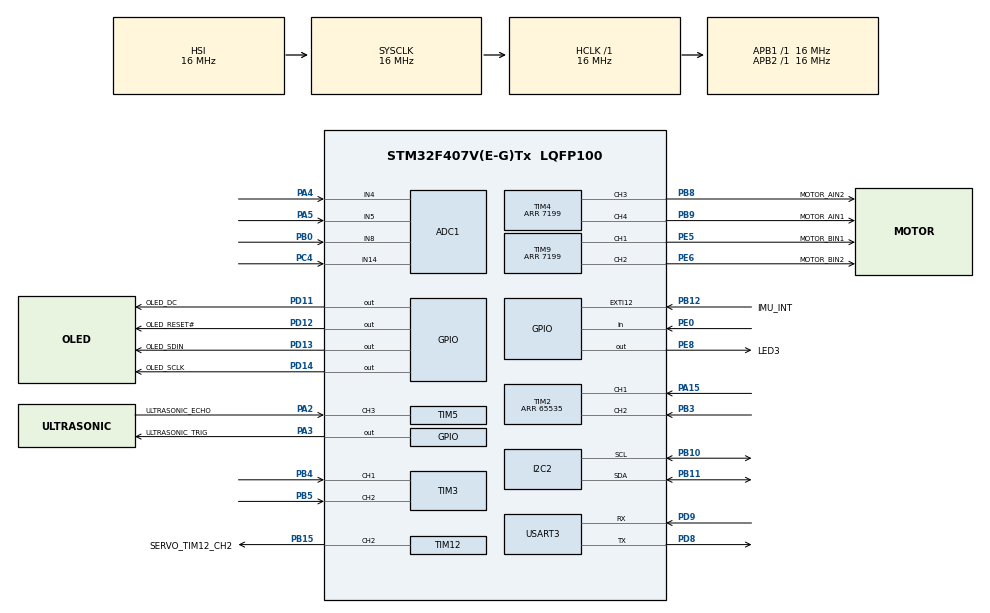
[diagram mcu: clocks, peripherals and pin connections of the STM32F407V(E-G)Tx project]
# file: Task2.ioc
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ADC1.Channel-0\#ChannelRegularConversion=ADC_CHANNEL_8
ADC1.ClockPrescaler=ADC_CLOCK_SYNC_PCLK_DIV4
ADC1.NbrOfConversionFlag=1
ADC1.Rank-0\#ChannelRegularConversion=1
ADC1.SamplingTime-0\#ChannelRegularConversion=ADC_SAMPLETIME_480CYCLES
ADC1.master=1
FREERTOS.Queues01=uartQueue,32,uint8_t,0,Dynamic,NULL,NULL
FREERTOS.Tasks01=defaultTask,24,512,StartDefaultTask,Default,NULL,Dynamic,NULL,NULL;communicateTask,32,1024,StartCommunicateTask,Default,NULL,Dynamic,NULL,NULL;motorTask,24,512,StartMotorTask,Default,NULL,Dynamic,NULL,NULL;oledTask,8,768,StartOledTask,Default,NULL,Dynamic,NULL,NULL;gyroTask,32,512,StartGyroTask,Default,NULL,Dynamic,NULL,NULL;ultrasonicTask,16,512,StartUltrasonicTask,Default,NULL,Dynamic,NULL,NULL
FREERTOS.configTOTAL_HEAP_SIZE=20480
Mcu.Family=STM32F4
Mcu.Name=STM32F407V(E-G)Tx
Mcu.Package=LQFP100
NVIC.PriorityGroup=NVIC_PRIORITYGROUP_4
NVIC.TIM5_IRQn=true\:5\:0\:false\:false\:true\:true\:true\:true\:true
NVIC.TIM7_IRQn=true\:15\:0\:false\:false\:true\:false\:false\:true\:true
NVIC.TimeBase=TIM7_IRQn
NVIC.TimeBaseIP=TIM7
NVIC.USART3_IRQn=true\:5\:0\:false\:false\:true\:true\:true\:true\:true
PA13.Signal=SYS_JTMS-SWDIO
PA14.Signal=SYS_JTCK-SWCLK
PA15.Signal=S_TIM2_CH1_ETR
PA2.GPIO_Label=ULTRASONIC_ECHO
PA2.Signal=S_TIM5_CH3
PA3.GPIO_Label=ULTRASONIC_TRIG
PA3.Signal=GPIO_Output
PA4.Signal=ADCx_IN4
PA5.Signal=ADCx_IN5
PB0.Signal=ADCx_IN8
PB10.Mode=I2C
PB10.Signal=I2C2_SCL
PB11.Mode=I2C
PB11.Signal=I2C2_SDA
PB12.GPIO_Label=IMU_INT
PB12.Signal=GPXTI12
PB15.GPIO_Label=SERVO_TIM12_CH2
PB15.Signal=S_TIM12_CH2
PB3.Signal=S_TIM2_CH2
PB4.Signal=S_TIM3_CH1
PB5.Signal=S_TIM3_CH2
PB8.GPIO_Label=MOTOR_AIN2
PB8.GPIO_Speed=GPIO_SPEED_FREQ_HIGH
PB8.Signal=S_TIM4_CH3
PB9.GPIO_Label=MOTOR_AIN1
PB9.GPIO_Speed=GPIO_SPEED_FREQ_HIGH
PB9.Signal=S_TIM4_CH4
PC4.Signal=ADCx_IN14
PD11.GPIO_Label=OLED_DC
PD11.Signal=GPIO_Output
PD12.GPIO_Label=OLED_RESET\#
PD12.Signal=GPIO_Output
PD13.GPIO_Label=OLED_SDIN
PD13.Signal=GPIO_Output
PD14.GPIO_Label=OLED_SCLK
PD14.Signal=GPIO_Output
PD8.Mode=Asynchronous
PD8.Signal=USART3_TX
PD9.Mode=Asynchronous
PD9.Signal=USART3_RX
PE0.Signal=GPIO_Input
PE5.GPIO_Label=MOTOR_BIN1
PE5.GPIO_Speed=GPIO_SPEED_FREQ_HIGH
PE5.Signal=S_TIM9_CH1
PE6.GPIO_Label=MOTOR_BIN2
PE6.GPIO_Speed=GPIO_SPEED_FREQ_HIGH
PE6.Signal=S_TIM9_CH2
PE8.GPIO_Label=LED3
PE8.Signal=GPIO_Output
ProjectManager.HeapSize=0x200
ProjectManager.StackSize=0x400
ProjectManager.TargetToolchain=STM32CubeIDE
RCC.AHBFreq_Value=16000000
RCC.APB1Freq_Value=16000000
RCC.APB2Freq_Value=16000000
RCC.CortexFreq_Value=16000000
RCC.HSE_VALUE=25000000
RCC.HSI_VALUE=16000000
RCC.LSE_VALUE=32768
RCC.SYSCLKFreq_VALUE=16000000
RCC.VCOOutputFreq_Value=192000000
SH.ADCx_IN14.0=ADC1_IN14,IN14
SH.ADCx_IN4.0=ADC1_IN4,IN4
SH.ADCx_IN5.0=ADC1_IN5,IN5
SH.ADCx_IN8.0=ADC1_IN8,IN8
SH.S_TIM12_CH2.0=TIM12_CH2,PWM Generation2 CH2
SH.S_TIM2_CH1_ETR.0=TIM2_CH1,Encoder_Interface
SH.S_TIM2_CH2.0=TIM2_CH2,Encoder_Interface
SH.S_TIM3_CH1.0=TIM3_CH1,Encoder_Interface
SH.S_TIM3_CH2.0=TIM3_CH2,Encoder_Interface
SH.S_TIM4_CH3.0=TIM4_CH3,PWM Generation3 CH3
SH.S_TIM4_CH4.0=TIM4_CH4,PWM Generation4 CH4
SH.S_TIM5_CH3.0=TIM5_CH3,Input_Capture3_from_TI3
SH.S_TIM9_CH1.0=TIM9_CH1,PWM Generation1 CH1
SH.S_TIM9_CH2.0=TIM9_CH2,PWM Generation2 CH2
TIM12.AutoReloadPreload=TIM_AUTORELOAD_PRELOAD_ENABLE
TIM12.Channel-PWM\ Generation2\ CH2=TIM_CHANNEL_2
TIM12.Period=20000-1
TIM12.Prescaler=16-1
TIM12.Pulse-PWM\ Generation2\ CH2=1500
TIM2.EncoderMode=TIM_ENCODERMODE_TI12
TIM2.IC1Filter=10
TIM2.IC2Filter=10
TIM2.Period=65535
TIM3.EncoderMode=TIM_ENCODERMODE_TI12
TIM3.IC1Filter=10
TIM3.IC1Polarity=TIM_ICPOLARITY_FALLING
TIM3.IC2Filter=10
TIM3.IC2Polarity=TIM_ICPOLARITY_RISING
TIM4.AutoReloadPreload=TIM_AUTORELOAD_PRELOAD_ENABLE
TIM4.Channel-PWM\ Generation3\ CH3=TIM_CHANNEL_3
TIM4.Channel-PWM\ Generation4\ CH4=TIM_CHANNEL_4
TIM4.Period=7199
TIM5.Channel-Input_Capture3_from_TI3=TIM_CHANNEL_3
TIM5.Period=65535
TIM5.Prescaler=16-1
TIM6.Prescaler=16-1
TIM9.AutoReloadPreload=TIM_AUTORELOAD_PRELOAD_ENABLE
TIM9.Channel-PWM\ Generation1\ CH1=TIM_CHANNEL_1
TIM9.Channel-PWM\ Generation2\ CH2=TIM_CHANNEL_2
TIM9.Period=7199
USART3.VirtualMode=VM_ASYNC
VP_FREERTOS_VS_CMSIS_V2.Mode=CMSIS_V2
VP_SYS_VS_tim7.Mode=TIM7
VP_TIM12_VS_ClockSourceINT.Mode=Internal
VP_TIM4_VS_ClockSourceINT.Mode=Internal
VP_TIM5_VS_ClockSourceINT.Mode=Internal
VP_TIM6_VS_ClockSourceINT.Mode=Enable_Timer
VP_TIM9_VS_ClockSourceINT.Mode=Internal
board=custom

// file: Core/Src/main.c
/* USER CODE BEGIN Header */
/**
  ******************************************************************************
  * @file           : main.c
  * @brief          : Main program body
  ******************************************************************************
  * @attention
  *
  * Copyright (c) 2026 STMicroelectronics.
  * All rights reserved.
  *
  * This software is licensed under terms that can be found in the LICENSE file
  * in the root directory of this software component.
  * If no LICENSE file comes with this software, it is provided AS-IS.
  *
  ******************************************************************************
  */
/* USER CODE END Header */
#include "main.h"
#include "cmsis_os.h"

/* USER CODE BEGIN Includes */
#include <stdio.h>
#include <stdlib.h>
#include <string.h>
#include <math.h>
#include "oled.h"
#include "ICM20948.h"
#include "robot_config.h"   // every tunable value (edit this during calibration)
#include "motion.h"         // straights, turns, heading
#include "field_tools.h"    // knob-and-button test modes, TD log
#include "task2.h"          // Task 2 sequencer: GO, AL / AR
/* USER CODE END Includes */

/* USER CODE BEGIN PD */
/* All tunable values live in robot_config.h. */
/* USER CODE END PD */

 ADC_HandleTypeDef hadc1;

I2C_HandleTypeDef hi2c2;

TIM_HandleTypeDef htim2;
TIM_HandleTypeDef htim3;
TIM_HandleTypeDef htim4;
TIM_HandleTypeDef htim5;
TIM_HandleTypeDef htim6;
TIM_HandleTypeDef htim9;
TIM_HandleTypeDef htim12;

UART_HandleTypeDef huart3;

/* Definitions for defaultTask */
osThreadId_t defaultTaskHandle;
const osThreadAttr_t defaultTask_attributes = {
  .name = "defaultTask",
  .stack_size = 512 * 4,
  .priority = (osPriority_t) osPriorityNormal,
};
/* Definitions for communicateTask */
osThreadId_t communicateTaskHandle;
const osThreadAttr_t communicateTask_attributes = {
  .name = "communicateTask",
  .stack_size = 1024 * 4,
  .priority = (osPriority_t) osPriorityAboveNormal,
};
/* Definitions for motorTask */
osThreadId_t motorTaskHandle;
const osThreadAttr_t motorTask_attributes = {
  .name = "motorTask",
  .stack_size = 512 * 4,
  .priority = (osPriority_t) osPriorityNormal,
};
/* Definitions for oledTask */
osThreadId_t oledTaskHandle;
const osThreadAttr_t oledTask_attributes = {
  .name = "oledTask",
  .stack_size = 768 * 4,
  .priority = (osPriority_t) osPriorityLow,
};
/* Definitions for gyroTask */
osThreadId_t gyroTaskHandle;
const osThreadAttr_t gyroTask_attributes = {
  .name = "gyroTask",
  .stack_size = 512 * 4,
  .priority = (osPriority_t) osPriorityAboveNormal,
};
/* Definitions for ultrasonicTask */
osThreadId_t ultrasonicTaskHandle;
const osThreadAttr_t ultrasonicTask_attributes = {
  .name = "ultrasonicTask",
  .stack_size = 512 * 4,
  .priority = (osPriority_t) osPriorityBelowNormal,
};
/* Definitions for uartQueue */
osMessageQueueId_t uartQueueHandle;
const osMessageQueueAttr_t uartQueue_attributes = {
  .name = "uartQueue"
};
/* USER CODE BEGIN PV */

/* ==========================================================================
 *                     GLOBAL STATE
 *  Motion and heading state lives in motion.c, test-mode state in
 *  field_tools.c, and every tunable value in robot_config.h.
 * ========================================================================== */

/* --- Serial --- */
uint8_t rxByte;                                 // UART single-byte receive buffer
volatile uint8_t emergency_stop_requested = 0;  // Set by '!' on the UART; stops the current move

/* --- Encoders (accumulated by the motor task, read by motion.c) --- */
int32_t left_encoder_val = 0;                   // Total ticks since boot (Left)
int32_t right_encoder_val = 0;                  // Total ticks since boot (Right)

/* --- Gyroscope --- */
volatile float dash_gyroRate = 0.0f;            // Yaw rate in deg/s (CCW positive)

/* --- OLED display dashboard --- */
char oled_status_msg[32] = "Booting...";        // When not empty, shown instead of the dashboard
char dash_lastCmd[15] = "None";                 // "CMD:" line: last command, or test-mode info
volatile float dash_ultraDist = 0.0f;           // Ultrasonic distance (cm), last echo (check age with Ultra_Get)
int dash_encoderL = 0;                          // Left encoder total
int dash_encoderR = 0;                          // Right encoder total
uint16_t dash_direction = 0;                    // Encoder direction indicator
float dash_battV = 0.0f;                        // Battery voltage (smoothed)
int dash_battPct = 0;                           // Battery percentage (rough)

/* --- Ultrasonic sensor --- */
uint32_t tc1 = 0;                               // Timer capture 1 (Rising Edge)
uint32_t tc2 = 0;                               // Timer capture 2 (Falling Edge)
uint32_t echo = 0;                              // Delta time of echo pulse
uint8_t first_captured = 0;                     // State flag for input capture
volatile uint32_t ultraTick = 0;                // HAL tick of the last echo
volatile uint32_t ultraSeq  = 0;                // +1 per echo (0 = none yet)

/* --- IR distance sensors (written by the sensor task only) --- */
volatile float    irCm[2]    = {IR_CLEAR, IR_CLEAR}; // [IR_LEFT]=IR1, [IR_RIGHT]=IR2: cm from the lens, median of 3
volatile float    irVolts[2] = {0.0f, 0.0f};         // averaged volts (diagnostics)
volatile uint32_t irSeq      = 0;                    // +1 per IR update

/* USER CODE END PV */

void SystemClock_Config(void);
static void MX_GPIO_Init(void);
static void MX_USART3_UART_Init(void);
static void MX_TIM6_Init(void);
static void MX_I2C2_Init(void);
static void MX_TIM5_Init(void);
static void MX_TIM4_Init(void);
static void MX_TIM9_Init(void);
static void MX_TIM2_Init(void);
static void MX_TIM3_Init(void);
static void MX_TIM12_Init(void);
static void MX_ADC1_Init(void);
void StartDefaultTask(void *argument);
void StartCommunicateTask(void *argument);
void StartMotorTask(void *argument);
void StartOledTask(void *argument);
void StartGyroTask(void *argument);
void StartUltrasonicTask(void *argument);

/* USER CODE BEGIN PFP */
static void bootMessage(const char *msg);

/* USER CODE END PFP */

/* USER CODE BEGIN 0 */

/* "12.3" / "-0.45" with integer printf only (no newlib float formatting).
 * decimals 1 or 2. Used by the OLED task. */
static void fixed1(char *out, float v, int decimals)
{
    long scale = (decimals >= 2) ? 100 : 10;
    long n = lroundf(v * (float)scale);
    const char *sign = (n < 0) ? "-" : "";
    if (n < 0) n = -n;
    if (decimals >= 2) sprintf(out, "%s%ld.%02ld", sign, n / 100, n % 100);
    else               sprintf(out, "%s%ld.%ld",   sign, n / 10,  n % 10);
}

/* ---- Crash reporting ----------------------------------------------------------
 * Any fault stops the robot and says what happened, instead of freezing silently:
 *   - motors braked, LED3 blinks slowly (~1 s on, ~1 s off; the heartbeat is 5 Hz),
 *   - "A FAULT <what> <task>" sent to the Pi,
 *   - "FAULT <what>" and the task name on the OLED.
 * Called from: stack overflow hook, configASSERT (FreeRTOSConfig.h), HardFault /
 * MemManage / BusFault / UsageFault (stm32f4xx_it.c). Interrupts are off and
 * nothing here uses the RTOS, HAL timing or printf. Press reset to recover. */
static void faultPutc(char c)
{
    while ((USART3->SR & USART_SR_TXE) == 0) { }
    USART3->DR = (uint8_t)c;
}

static void faultPuts(const char *p)
{
    while (p && *p) faultPutc(*p++);
}

void Fault_Stop(const char *what, const char *task)
{
    __disable_irq();
    // Motors: both pins high = AT8236 brake (the PWM timers keep running on their own)
    __HAL_TIM_SET_COMPARE(&htim4, TIM_CHANNEL_3, PWM_BRAKE);
    __HAL_TIM_SET_COMPARE(&htim4, TIM_CHANNEL_4, PWM_BRAKE);
    __HAL_TIM_SET_COMPARE(&htim9, TIM_CHANNEL_1, PWM_BRAKE);
    __HAL_TIM_SET_COMPARE(&htim9, TIM_CHANNEL_2, PWM_BRAKE);

    faultPuts("A FAULT ");
    faultPuts(what);
    faultPutc(' ');
    faultPuts((task && *task) ? task : "-");
    faultPuts("\r\n");

    char line[24] = "FAULT ";
    strncat(line, what, sizeof(line) - strlen(line) - 1);
    for (int y = 0; y < 64; y++) for (int x = 0; x < 128; x++) OLED_DrawPoint((uint8_t)x, (uint8_t)y, 0);
    OLED_ShowString(0, 12, (const uint8_t *)line);
    OLED_ShowString(0, 30, (const uint8_t *)((task && *task) ? task : "-"));
    OLED_ShowString(0, 48, (const uint8_t *)"press RESET");
    OLED_Refresh_Gram();

    for (;;) {
        HAL_GPIO_TogglePin(LED3_GPIO_Port, LED3_Pin);
        for (volatile uint32_t i = 0; i < 1600000u; i++) { }   // ~1 s: the core runs at 16 MHz (HSI)
    }
}

/* FreeRTOS: a task ran past the end of its stack (configCHECK_FOR_STACK_OVERFLOW 2). */
void vApplicationStackOverflowHook(TaskHandle_t xTask, signed char *pcTaskName)
{
    (void)xTask;
    Fault_Stop("STACK", (const char *)pcTaskName);
}

/* FreeRTOS: pvPortMalloc found no room (only at start-up, when the tasks are created). */
void vApplicationMallocFailedHook(void)
{
    Fault_Stop("HEAP", "");
}

/* newlib: malloc / free are used by printf's number formatting. Make them safe
 * when two tasks format at once (newlib's default lock does nothing). */
void __malloc_lock(struct _reent *r)
{
    (void)r;
    if (xTaskGetSchedulerState() != taskSCHEDULER_NOT_STARTED) vTaskSuspendAll();
}

void __malloc_unlock(struct _reent *r)
{
    (void)r;
    if (xTaskGetSchedulerState() != taskSCHEDULER_NOT_STARTED) (void)xTaskResumeAll();
}

/* USER CODE END 0 */

int main(void)
{

  /* MCU Configuration--------------------------------------------------------*/

  /* Reset of all peripherals, Initializes the Flash interface and the Systick. */
  HAL_Init();

  /* Configure the system clock */
  SystemClock_Config();

  /* Initialize all configured peripherals */
  MX_GPIO_Init();
  MX_USART3_UART_Init();
  MX_TIM6_Init();
  MX_I2C2_Init();
  MX_TIM5_Init();
  MX_TIM4_Init();
  MX_TIM9_Init();
  MX_TIM2_Init();
  MX_TIM3_Init();
  MX_TIM12_Init();
  MX_ADC1_Init();
  /* USER CODE BEGIN 2 */

  // 1. Initialise OLED and Show Boot Message
  OLED_Init();
  bootMessage("Booting...");

  // 2. Initialise IMU (Gyroscope)
  if (ICM20948_Init() == HAL_OK) {
      bootMessage("IMU Found");
      HAL_Delay(300);         // long enough to read; the RTOS isn't running yet
  } else {
      bootMessage("IMU ERROR!");
      while(1); // Halt execution if IMU fails (the message stays on screen)
  }

  // 3. Start UART Interrupt Listener
  HAL_UART_Receive_IT(&huart3, &rxByte, 1);
#if FIELD_TOOLS
  FieldTools_Init();        // PB1 knob as analogue input
#endif

  // 4. Start Ultrasonic Timers
  HAL_TIM_Base_Start(&htim6);
  HAL_TIM_IC_Start_IT(&htim5, TIM_CHANNEL_3);

  /* USER CODE END 2 */

  /* Init scheduler */
  osKernelInitialize();

  /* Create the queue(s) */
  /* creation of uartQueue */
  uartQueueHandle = osMessageQueueNew (32, sizeof(uint8_t), &uartQueue_attributes);

  /* Create the thread(s) */
  /* creation of defaultTask */
  defaultTaskHandle = osThreadNew(StartDefaultTask, NULL, &defaultTask_attributes);

  /* creation of communicateTask */
  communicateTaskHandle = osThreadNew(StartCommunicateTask, NULL, &communicateTask_attributes);

  /* creation of motorTask */
  motorTaskHandle = osThreadNew(StartMotorTask, NULL, &motorTask_attributes);

  /* creation of oledTask */
  oledTaskHandle = osThreadNew(StartOledTask, NULL, &oledTask_attributes);

  /* creation of gyroTask */
  gyroTaskHandle = osThreadNew(StartGyroTask, NULL, &gyroTask_attributes);

  /* creation of ultrasonicTask */
  ultrasonicTaskHandle = osThreadNew(StartUltrasonicTask, NULL, &ultrasonicTask_attributes);

  /* Start scheduler */
  osKernelStart();

  /* We should never get here as control is now taken by the scheduler */
  /* Infinite loop */
  while (1)
  {

  }
}

void SystemClock_Config(void)
{
  RCC_OscInitTypeDef RCC_OscInitStruct = {0};
  RCC_ClkInitTypeDef RCC_ClkInitStruct = {0};

  /** Configure the main internal regulator output voltage
  */
  __HAL_RCC_PWR_CLK_ENABLE();
  __HAL_PWR_VOLTAGESCALING_CONFIG(PWR_REGULATOR_VOLTAGE_SCALE1);

  /** Initializes the RCC Oscillators according to the specified parameters
  * in the RCC_OscInitTypeDef structure.
  */
  RCC_OscInitStruct.OscillatorType = RCC_OSCILLATORTYPE_HSI;
  RCC_OscInitStruct.HSIState = RCC_HSI_ON;
  RCC_OscInitStruct.HSICalibrationValue = RCC_HSICALIBRATION_DEFAULT;
  RCC_OscInitStruct.PLL.PLLState = RCC_PLL_NONE;
  if (HAL_RCC_OscConfig(&RCC_OscInitStruct) != HAL_OK)
  {
    Error_Handler();
  }

  /** Initializes the CPU, AHB and APB buses clocks
  */
  RCC_ClkInitStruct.ClockType = RCC_CLOCKTYPE_HCLK|RCC_CLOCKTYPE_SYSCLK
                              |RCC_CLOCKTYPE_PCLK1|RCC_CLOCKTYPE_PCLK2;
  RCC_ClkInitStruct.SYSCLKSource = RCC_SYSCLKSOURCE_HSI;
  RCC_ClkInitStruct.AHBCLKDivider = RCC_SYSCLK_DIV1;
  RCC_ClkInitStruct.APB1CLKDivider = RCC_HCLK_DIV1;
  RCC_ClkInitStruct.APB2CLKDivider = RCC_HCLK_DIV1;

  if (HAL_RCC_ClockConfig(&RCC_ClkInitStruct, FLASH_LATENCY_0) != HAL_OK)
  {
    Error_Handler();
  }
}

static void MX_ADC1_Init(void)
{

  ADC_ChannelConfTypeDef sConfig = {0};

  /** Configure the global features of the ADC (Clock, Resolution, Data Alignment and number of conversion)
  */
  hadc1.Instance = ADC1;
  hadc1.Init.ClockPrescaler = ADC_CLOCK_SYNC_PCLK_DIV4;
  hadc1.Init.Resolution = ADC_RESOLUTION_12B;
  hadc1.Init.ScanConvMode = DISABLE;
  hadc1.Init.ContinuousConvMode = DISABLE;
  hadc1.Init.DiscontinuousConvMode = DISABLE;
  hadc1.Init.ExternalTrigConvEdge = ADC_EXTERNALTRIGCONVEDGE_NONE;
  hadc1.Init.ExternalTrigConv = ADC_SOFTWARE_START;
  hadc1.Init.DataAlign = ADC_DATAALIGN_RIGHT;
  hadc1.Init.NbrOfConversion = 1;
  hadc1.Init.DMAContinuousRequests = DISABLE;
  hadc1.Init.EOCSelection = ADC_EOC_SINGLE_CONV;
  if (HAL_ADC_Init(&hadc1) != HAL_OK)
  {
    Error_Handler();
  }

  /** Configure for the selected ADC regular channel its corresponding rank in the sequencer and its sample time.
  */
  sConfig.Channel = ADC_CHANNEL_8;
  sConfig.Rank = 1;
  sConfig.SamplingTime = ADC_SAMPLETIME_480CYCLES;
  if (HAL_ADC_ConfigChannel(&hadc1, &sConfig) != HAL_OK)
  {
    Error_Handler();
  }

}

static void MX_I2C2_Init(void)
{

  hi2c2.Instance = I2C2;
  hi2c2.Init.ClockSpeed = 100000;
  hi2c2.Init.DutyCycle = I2C_DUTYCYCLE_2;
  hi2c2.Init.OwnAddress1 = 0;
  hi2c2.Init.AddressingMode = I2C_ADDRESSINGMODE_7BIT;
  hi2c2.Init.DualAddressMode = I2C_DUALADDRESS_DISABLE;
  hi2c2.Init.OwnAddress2 = 0;
  hi2c2.Init.GeneralCallMode = I2C_GENERALCALL_DISABLE;
  hi2c2.Init.NoStretchMode = I2C_NOSTRETCH_DISABLE;
  if (HAL_I2C_Init(&hi2c2) != HAL_OK)
  {
    Error_Handler();
  }

}

static void MX_TIM2_Init(void)
{

  TIM_Encoder_InitTypeDef sConfig = {0};
  TIM_MasterConfigTypeDef sMasterConfig = {0};

  htim2.Instance = TIM2;
  htim2.Init.Prescaler = 0;
  htim2.Init.CounterMode = TIM_COUNTERMODE_UP;
  htim2.Init.Period = 65535;
  htim2.Init.ClockDivision = TIM_CLOCKDIVISION_DIV1;
  htim2.Init.AutoReloadPreload = TIM_AUTORELOAD_PRELOAD_DISABLE;
  sConfig.EncoderMode = TIM_ENCODERMODE_TI12;
  sConfig.IC1Polarity = TIM_ICPOLARITY_RISING;
  sConfig.IC1Selection = TIM_ICSELECTION_DIRECTTI;
  sConfig.IC1Prescaler = TIM_ICPSC_DIV1;
  sConfig.IC1Filter = 10;
  sConfig.IC2Polarity = TIM_ICPOLARITY_RISING;
  sConfig.IC2Selection = TIM_ICSELECTION_DIRECTTI;
  sConfig.IC2Prescaler = TIM_ICPSC_DIV1;
  sConfig.IC2Filter = 10;
  if (HAL_TIM_Encoder_Init(&htim2, &sConfig) != HAL_OK)
  {
    Error_Handler();
  }
  sMasterConfig.MasterOutputTrigger = TIM_TRGO_RESET;
  sMasterConfig.MasterSlaveMode = TIM_MASTERSLAVEMODE_DISABLE;
  if (HAL_TIMEx_MasterConfigSynchronization(&htim2, &sMasterConfig) != HAL_OK)
  {
    Error_Handler();
  }

}

static void MX_TIM3_Init(void)
{

  TIM_Encoder_InitTypeDef sConfig = {0};
  TIM_MasterConfigTypeDef sMasterConfig = {0};

  htim3.Instance = TIM3;
  htim3.Init.Prescaler = 0;
  htim3.Init.CounterMode = TIM_COUNTERMODE_UP;
  htim3.Init.Period = 65535;
  htim3.Init.ClockDivision = TIM_CLOCKDIVISION_DIV1;
  htim3.Init.AutoReloadPreload = TIM_AUTORELOAD_PRELOAD_DISABLE;
  sConfig.EncoderMode = TIM_ENCODERMODE_TI12;
  sConfig.IC1Polarity = TIM_ICPOLARITY_FALLING;
  sConfig.IC1Selection = TIM_ICSELECTION_DIRECTTI;
  sConfig.IC1Prescaler = TIM_ICPSC_DIV1;
  sConfig.IC1Filter = 10;
  sConfig.IC2Polarity = TIM_ICPOLARITY_RISING;
  sConfig.IC2Selection = TIM_ICSELECTION_DIRECTTI;
  sConfig.IC2Prescaler = TIM_ICPSC_DIV1;
  sConfig.IC2Filter = 10;
  if (HAL_TIM_Encoder_Init(&htim3, &sConfig) != HAL_OK)
  {
    Error_Handler();
  }
  sMasterConfig.MasterOutputTrigger = TIM_TRGO_RESET;
  sMasterConfig.MasterSlaveMode = TIM_MASTERSLAVEMODE_DISABLE;
  if (HAL_TIMEx_MasterConfigSynchronization(&htim3, &sMasterConfig) != HAL_OK)
  {
    Error_Handler();
  }

}

static void MX_TIM4_Init(void)
{

  TIM_ClockConfigTypeDef sClockSourceConfig = {0};
  TIM_MasterConfigTypeDef sMasterConfig = {0};
  TIM_OC_InitTypeDef sConfigOC = {0};

  htim4.Instance = TIM4;
  htim4.Init.Prescaler = 0;
  htim4.Init.CounterMode = TIM_COUNTERMODE_UP;
  htim4.Init.Period = 7199;
  htim4.Init.ClockDivision = TIM_CLOCKDIVISION_DIV1;
  htim4.Init.AutoReloadPreload = TIM_AUTORELOAD_PRELOAD_ENABLE;
  if (HAL_TIM_Base_Init(&htim4) != HAL_OK)
  {
    Error_Handler();
  }
  sClockSourceConfig.ClockSource = TIM_CLOCKSOURCE_INTERNAL;
  if (HAL_TIM_ConfigClockSource(&htim4, &sClockSourceConfig) != HAL_OK)
  {
    Error_Handler();
  }
  if (HAL_TIM_PWM_Init(&htim4) != HAL_OK)
  {
    Error_Handler();
  }
  sMasterConfig.MasterOutputTrigger = TIM_TRGO_RESET;
  sMasterConfig.MasterSlaveMode = TIM_MASTERSLAVEMODE_DISABLE;
  if (HAL_TIMEx_MasterConfigSynchronization(&htim4, &sMasterConfig) != HAL_OK)
  {
    Error_Handler();
  }
  sConfigOC.OCMode = TIM_OCMODE_PWM1;
  sConfigOC.Pulse = 0;
  sConfigOC.OCPolarity = TIM_OCPOLARITY_HIGH;
  sConfigOC.OCFastMode = TIM_OCFAST_DISABLE;
  if (HAL_TIM_PWM_ConfigChannel(&htim4, &sConfigOC, TIM_CHANNEL_3) != HAL_OK)
  {
    Error_Handler();
  }
  if (HAL_TIM_PWM_ConfigChannel(&htim4, &sConfigOC, TIM_CHANNEL_4) != HAL_OK)
  {
    Error_Handler();
  }
  HAL_TIM_MspPostInit(&htim4);

}

static void MX_TIM5_Init(void)
{

  TIM_ClockConfigTypeDef sClockSourceConfig = {0};
  TIM_MasterConfigTypeDef sMasterConfig = {0};
  TIM_IC_InitTypeDef sConfigIC = {0};

  htim5.Instance = TIM5;
  htim5.Init.Prescaler = 16-1;
  htim5.Init.CounterMode = TIM_COUNTERMODE_UP;
  htim5.Init.Period = 65535;
  htim5.Init.ClockDivision = TIM_CLOCKDIVISION_DIV1;
  htim5.Init.AutoReloadPreload = TIM_AUTORELOAD_PRELOAD_DISABLE;
  if (HAL_TIM_Base_Init(&htim5) != HAL_OK)
  {
    Error_Handler();
  }
  sClockSourceConfig.ClockSource = TIM_CLOCKSOURCE_INTERNAL;
  if (HAL_TIM_ConfigClockSource(&htim5, &sClockSourceConfig) != HAL_OK)
  {
    Error_Handler();
  }
  if (HAL_TIM_IC_Init(&htim5) != HAL_OK)
  {
    Error_Handler();
  }
  sMasterConfig.MasterOutputTrigger = TIM_TRGO_RESET;
  sMasterConfig.MasterSlaveMode = TIM_MASTERSLAVEMODE_DISABLE;
  if (HAL_TIMEx_MasterConfigSynchronization(&htim5, &sMasterConfig) != HAL_OK)
  {
    Error_Handler();
  }
  sConfigIC.ICPolarity = TIM_INPUTCHANNELPOLARITY_RISING;
  sConfigIC.ICSelection = TIM_ICSELECTION_DIRECTTI;
  sConfigIC.ICPrescaler = TIM_ICPSC_DIV1;
  sConfigIC.ICFilter = 0;
  if (HAL_TIM_IC_ConfigChannel(&htim5, &sConfigIC, TIM_CHANNEL_3) != HAL_OK)
  {
    Error_Handler();
  }

}

static void MX_TIM6_Init(void)
{

  TIM_MasterConfigTypeDef sMasterConfig = {0};

  htim6.Instance = TIM6;
  htim6.Init.Prescaler = 16-1;
  htim6.Init.CounterMode = TIM_COUNTERMODE_UP;
  htim6.Init.Period = 65535;
  htim6.Init.AutoReloadPreload = TIM_AUTORELOAD_PRELOAD_DISABLE;
  if (HAL_TIM_Base_Init(&htim6) != HAL_OK)
  {
    Error_Handler();
  }
  sMasterConfig.MasterOutputTrigger = TIM_TRGO_RESET;
  sMasterConfig.MasterSlaveMode = TIM_MASTERSLAVEMODE_DISABLE;
  if (HAL_TIMEx_MasterConfigSynchronization(&htim6, &sMasterConfig) != HAL_OK)
  {
    Error_Handler();
  }

}

static void MX_TIM9_Init(void)
{

  TIM_ClockConfigTypeDef sClockSourceConfig = {0};
  TIM_OC_InitTypeDef sConfigOC = {0};

  htim9.Instance = TIM9;
  htim9.Init.Prescaler = 0;
  htim9.Init.CounterMode = TIM_COUNTERMODE_UP;
  htim9.Init.Period = 7199;
  htim9.Init.ClockDivision = TIM_CLOCKDIVISION_DIV1;
  htim9.Init.AutoReloadPreload = TIM_AUTORELOAD_PRELOAD_ENABLE;
  if (HAL_TIM_Base_Init(&htim9) != HAL_OK)
  {
    Error_Handler();
  }
  sClockSourceConfig.ClockSource = TIM_CLOCKSOURCE_INTERNAL;
  if (HAL_TIM_ConfigClockSource(&htim9, &sClockSourceConfig) != HAL_OK)
  {
    Error_Handler();
  }
  if (HAL_TIM_PWM_Init(&htim9) != HAL_OK)
  {
    Error_Handler();
  }
  sConfigOC.OCMode = TIM_OCMODE_PWM1;
  sConfigOC.Pulse = 0;
  sConfigOC.OCPolarity = TIM_OCPOLARITY_HIGH;
  sConfigOC.OCFastMode = TIM_OCFAST_DISABLE;
  if (HAL_TIM_PWM_ConfigChannel(&htim9, &sConfigOC, TIM_CHANNEL_1) != HAL_OK)
  {
    Error_Handler();
  }
  if (HAL_TIM_PWM_ConfigChannel(&htim9, &sConfigOC, TIM_CHANNEL_2) != HAL_OK)
  {
    Error_Handler();
  }
  HAL_TIM_MspPostInit(&htim9);

}

static void MX_TIM12_Init(void)
{

  TIM_ClockConfigTypeDef sClockSourceConfig = {0};
  TIM_OC_InitTypeDef sConfigOC = {0};

  htim12.Instance = TIM12;
  htim12.Init.Prescaler = 16-1;
  htim12.Init.CounterMode = TIM_COUNTERMODE_UP;
  htim12.Init.Period = 20000-1;
  htim12.Init.ClockDivision = TIM_CLOCKDIVISION_DIV1;
  htim12.Init.AutoReloadPreload = TIM_AUTORELOAD_PRELOAD_ENABLE;
  if (HAL_TIM_Base_Init(&htim12) != HAL_OK)
  {
    Error_Handler();
  }
  sClockSourceConfig.ClockSource = TIM_CLOCKSOURCE_INTERNAL;
  if (HAL_TIM_ConfigClockSource(&htim12, &sClockSourceConfig) != HAL_OK)
  {
    Error_Handler();
  }
  if (HAL_TIM_PWM_Init(&htim12) != HAL_OK)
  {
    Error_Handler();
  }
  sConfigOC.OCMode = TIM_OCMODE_PWM1;
  sConfigOC.Pulse = 1500;
  sConfigOC.OCPolarity = TIM_OCPOLARITY_HIGH;
  sConfigOC.OCFastMode = TIM_OCFAST_DISABLE;
  if (HAL_TIM_PWM_ConfigChannel(&htim12, &sConfigOC, TIM_CHANNEL_2) != HAL_OK)
  {
    Error_Handler();
  }
  HAL_TIM_MspPostInit(&htim12);

}

static void MX_USART3_UART_Init(void)
{

  huart3.Instance = USART3;
  huart3.Init.BaudRate = 115200;
  huart3.Init.WordLength = UART_WORDLENGTH_8B;
  huart3.Init.StopBits = UART_STOPBITS_1;
  huart3.Init.Parity = UART_PARITY_NONE;
  huart3.Init.Mode = UART_MODE_TX_RX;
  huart3.Init.HwFlowCtl = UART_HWCONTROL_NONE;
  huart3.Init.OverSampling = UART_OVERSAMPLING_16;
  if (HAL_UART_Init(&huart3) != HAL_OK)
  {
    Error_Handler();
  }

}

static void MX_GPIO_Init(void)
{
  GPIO_InitTypeDef GPIO_InitStruct = {0};

  /* GPIO Ports Clock Enable */
  __HAL_RCC_GPIOE_CLK_ENABLE();
  __HAL_RCC_GPIOA_CLK_ENABLE();
  __HAL_RCC_GPIOC_CLK_ENABLE();
  __HAL_RCC_GPIOB_CLK_ENABLE();
  __HAL_RCC_GPIOD_CLK_ENABLE();

  /*Configure GPIO pin Output Level */
  HAL_GPIO_WritePin(ULTRASONIC_TRIG_GPIO_Port, ULTRASONIC_TRIG_Pin, GPIO_PIN_RESET);

  /*Configure GPIO pin Output Level */
  HAL_GPIO_WritePin(LED3_GPIO_Port, LED3_Pin, GPIO_PIN_RESET);

  /*Configure GPIO pin Output Level */
  HAL_GPIO_WritePin(GPIOD, OLED_DC_Pin|OLED_RESET__Pin|OLED_SDIN_Pin|OLED_SCLK_Pin, GPIO_PIN_RESET);

  /*Configure GPIO pin : ULTRASONIC_TRIG_Pin */
  GPIO_InitStruct.Pin = ULTRASONIC_TRIG_Pin;
  GPIO_InitStruct.Mode = GPIO_MODE_OUTPUT_PP;
  GPIO_InitStruct.Pull = GPIO_NOPULL;
  GPIO_InitStruct.Speed = GPIO_SPEED_FREQ_LOW;
  HAL_GPIO_Init(ULTRASONIC_TRIG_GPIO_Port, &GPIO_InitStruct);

  /*Configure GPIO pin : LED3_Pin */
  GPIO_InitStruct.Pin = LED3_Pin;
  GPIO_InitStruct.Mode = GPIO_MODE_OUTPUT_PP;
  GPIO_InitStruct.Pull = GPIO_NOPULL;
  GPIO_InitStruct.Speed = GPIO_SPEED_FREQ_LOW;
  HAL_GPIO_Init(LED3_GPIO_Port, &GPIO_InitStruct);

  /*Configure GPIO pin : IMU_INT_Pin */
  GPIO_InitStruct.Pin = IMU_INT_Pin;
  GPIO_InitStruct.Mode = GPIO_MODE_IT_RISING;
  GPIO_InitStruct.Pull = GPIO_NOPULL;
  HAL_GPIO_Init(IMU_INT_GPIO_Port, &GPIO_InitStruct);

  /*Configure GPIO pins : OLED_DC_Pin OLED_RESET__Pin OLED_SDIN_Pin OLED_SCLK_Pin */
  GPIO_InitStruct.Pin = OLED_DC_Pin|OLED_RESET__Pin|OLED_SDIN_Pin|OLED_SCLK_Pin;
  GPIO_InitStruct.Mode = GPIO_MODE_OUTPUT_PP;
  GPIO_InitStruct.Pull = GPIO_NOPULL;
  GPIO_InitStruct.Speed = GPIO_SPEED_FREQ_LOW;
  HAL_GPIO_Init(GPIOD, &GPIO_InitStruct);

  /*Configure GPIO pin : PE0 */
  GPIO_InitStruct.Pin = GPIO_PIN_0;
  GPIO_InitStruct.Mode = GPIO_MODE_INPUT;
  GPIO_InitStruct.Pull = GPIO_NOPULL;
  HAL_GPIO_Init(GPIOE, &GPIO_InitStruct);

}

/* USER CODE BEGIN 4 */

/* ==========================================================================
 *                     INTERRUPT CALLBACKS
 * ========================================================================== */

/**
 * @brief Serial Communication Interrupt Callback.
 *        Listens for incoming UART data and handles emergency stops immediately.
 */
void HAL_UART_RxCpltCallback(UART_HandleTypeDef *huart)
{
    if (huart -> Instance == USART3) {
        // Intercept emergency stop ('!') immediately so it bypasses queues
        if (rxByte == '!') {
            emergency_stop_requested = 1;
        } else {
            // Every other character goes to the command task. '!' is not queued:
            // it would otherwise end up at the front of the next command.
            osMessageQueuePut(uartQueueHandle, &rxByte, 0U, 0U);
        }

        // Re-arm the interrupt to listen for the next byte
        HAL_UART_Receive_IT(&huart3, &rxByte, 1);
    }
}

/**
 * @brief Microsecond delay using hardware timer (TIM6).
 *        Used to precisely trigger the ultrasonic sensor.
 */
void delay_us(uint16_t us)
{
    __HAL_TIM_SET_COUNTER(&htim6, 0);
    while(__HAL_TIM_GET_COUNTER(&htim6) < us);
}

/**
 * @brief Ultrasonic Input Capture Callback.
 *        Calculates distance based on the width of the echo pulse.
 */
void HAL_TIM_IC_CaptureCallback(TIM_HandleTypeDef *htim)
{
    if (htim->Instance == TIM5 && htim->Channel == HAL_TIM_ACTIVE_CHANNEL_3) {
        if (first_captured == 0) {
            // Rising edge detected: start timer capture
            tc1 = HAL_TIM_ReadCapturedValue(htim, TIM_CHANNEL_3);
            first_captured = 1;
            __HAL_TIM_SET_CAPTUREPOLARITY(htim, TIM_CHANNEL_3, TIM_INPUTCHANNELPOLARITY_FALLING);
        } else if (first_captured == 1) {
            // Falling edge detected: read the end time, reset the counter, calculate delta
            tc2 = HAL_TIM_ReadCapturedValue(htim, TIM_CHANNEL_3);
            __HAL_TIM_SET_COUNTER(htim, 0);

            // Handle timer overflow
            if (tc2 > tc1) {
                echo = tc2 - tc1;
            } else {
                echo = (65535 - tc1) + tc2;
            }

            // Convert raw timer ticks to centimetres
            dash_ultraDist = (float)echo * ULTRA_CM_PER_US + ULTRA_OFFSET_CM;   // calibrated: see robot_config.h
            ultraTick = HAL_GetTick();          // when it arrived (stale after ULTRA_VALID_MS)
            ultraSeq++;                         // written last: readers check it to spot a new echo

            // Reset state machine for the next reading
            first_captured = 0;
            __HAL_TIM_SET_CAPTUREPOLARITY(htim, TIM_CHANNEL_3, TIM_INPUTCHANNELPOLARITY_RISING);
            __HAL_TIM_DISABLE_IT(htim, TIM_IT_CC3);
        }
    }
}

/* Re-arms UART3 reception after a line error (noise, a cable being
 * plugged or unplugged). Without this the robot stops listening until
 * reset. If reception is still running, the call just returns busy. */
void HAL_UART_ErrorCallback(UART_HandleTypeDef *huart)
{
    if (huart->Instance == USART3) {
        HAL_UART_Receive_IT(&huart3, &rxByte, 1);
    }
}

/* ==========================================================================
 *                     BOOT MESSAGES
 * ========================================================================== */

/* Draws a status line straight to the OLED. Used during start-up, before the
 * OLED task is running (it normally does all the drawing), so messages like
 * "IMU ERROR!" are visible even if start-up stops there. */
static void bootMessage(const char *msg)
{
    strncpy(oled_status_msg, msg, sizeof(oled_status_msg) - 1);
    oled_status_msg[sizeof(oled_status_msg) - 1] = '\0';
    OLED_Clear();
    OLED_ShowString(0, 24, (uint8_t *)oled_status_msg);
    OLED_Refresh_Gram();
}

/* ==========================================================================
 *                     BATTERY
 * ========================================================================== */

/* Reads one ADC1 channel. Only ever called from the sensor task (IR, battery,
 * knob), so nothing fights over the ADC and no mutex is needed.
 * Returns 0xFFFFFFFF on failure. */
uint32_t Board_ReadAdc(uint32_t channel)
{
    ADC_ChannelConfTypeDef c = {0};
    uint32_t raw = 0xFFFFFFFFu;
    c.Channel = channel;
    c.Rank = 1;
    c.SamplingTime = ADC_SAMPLETIME_480CYCLES;
    HAL_ADC_ConfigChannel(&hadc1, &c);
    HAL_ADC_Start(&hadc1);
    if (HAL_ADC_PollForConversion(&hadc1, 10) == HAL_OK) {
        raw = HAL_ADC_GetValue(&hadc1);
    }
    HAL_ADC_Stop(&hadc1);
    return raw;
}

/* Battery voltage from PB0 (11:1 divider: R27 100k / R26 10k). */
static float readBatteryVoltage(void)
{
    uint32_t raw = Board_ReadAdc(ADC_CHANNEL_8);
    if (raw == 0xFFFFFFFFu) {
        return dash_battV;              // keep last good reading
    }
    return ((float)raw * 3.3f / 4095.0f) * 11.0f;
}

/* Rough 3S Li-ion state of charge. Approximate: voltage sags under load. */
static int batteryPercent(float v)
{
    float cell = v / 3.0f;
    if (cell >= 4.15f) return 100;
    if (cell <= 3.30f) return 0;
    if (cell >  3.85f) return (int)(55.0f + (cell - 3.85f) * (45.0f / 0.30f));
    if (cell >  3.60f) return (int)(20.0f + (cell - 3.60f) * (35.0f / 0.25f));
    return (int)((cell - 3.30f) * (20.0f / 0.30f));
}

/* ==========================================================================
 *                     ULTRASONIC: reading it safely from tasks
 * ========================================================================== */

/* Latest echo, safe from any task (never waits). Returns the echo's sequence
 * number so callers can tell a new echo from one they have already used.
 * *cm = -1 if there has been no echo, it is older than ULTRA_VALID_MS, or it
 * was a no-echo timeout (> ULTRA_MAX_CM). */
uint32_t Ultra_Get(float *cm)
{
    uint32_t s, t;
    float d;
    do {                                     // re-read if an echo lands mid-read
        s = ultraSeq;
        d = dash_ultraDist;
        t = ultraTick;
    } while (s != ultraSeq);
    if (s == 0 || (HAL_GetTick() - t) > ULTRA_VALID_MS || d > ULTRA_MAX_CM) {
        d = -1.0f;
    }
    *cm = d;
    return s;
}

/* Median of the next `pings` echoes (max 9), for when the robot is standing
 * still (US?). Waits up to (pings + 2) ping periods. Returns -1 if no good
 * echo came back; *nGood = how many good echoes were used.
 * Calls osDelay: tasks only, never from an interrupt or the motor task. */
float Ultra_Query(int pings, int *nGood)
{
    float r[9], d;
    int k = 0, got = 0;
    if (pings > 9) pings = 9;
    uint32_t last  = Ultra_Get(&d);          // only echoes from now on count
    uint32_t start = HAL_GetTick();
    uint32_t limit = (uint32_t)(pings + 2) * 60u + 50u;   // the sensor task pings every 60 ms
    while (got < pings && (HAL_GetTick() - start) < limit) {
        osDelay(5);
        uint32_t s = Ultra_Get(&d);
        if (s == last) continue;
        last = s;
        got++;
        if (d > 0.0f) {                      // insertion sort as they arrive
            int i = k++;
            while (i > 0 && r[i - 1] > d) { r[i] = r[i - 1]; i--; }
            r[i] = d;
        }
    }
    *nGood = k;
    return (k > 0) ? r[(k - 1) / 2] : -1.0f; // even count: the shorter middle one
}

/* Banzai mode: how many echoes nearer than maxCm come back in about `pings`
 * ping periods (standing). Echoes from farther away (the room behind) don't
 * count. Calls osDelay: tasks only. */
int Ultra_CountNear(int pings, float maxCm)
{
    float d;
    int n = 0;
    uint32_t last  = Ultra_Get(&d);          // only echoes from now on count
    uint32_t start = HAL_GetTick();
    uint32_t limit = (uint32_t)pings * 60u + 30u;   // the sensor task pings every 60 ms
    while ((HAL_GetTick() - start) < limit) {
        osDelay(5);
        uint32_t s = Ultra_Get(&d);
        if (s == last) continue;
        last = s;
        if (d > 0.0f && d < maxCm) n++;
    }
    return n;
}

/* ==========================================================================
 *                     IR DISTANCE SENSORS (Sharp GP2Y0A21YK0F)
 * ========================================================================== */

/* Average of IR_SAMPLES readings of one IR channel, in volts (~1 ms).
 * Negative if the ADC failed. Sensor task only (it owns the ADC). */
static float irReadVolts(uint32_t channel)
{
    uint32_t sum = 0;
    for (int i = 0; i < IR_SAMPLES; i++) {
        uint32_t raw = Board_ReadAdc(channel);
        if (raw == 0xFFFFFFFFu) {
            return -1.0f;
        }
        sum += raw;
    }
    return ((float)sum / IR_SAMPLES) * 3.3f / 4095.0f;
}

/* Volts -> cm from the lens, from the calibration table in robot_config.h.
 * Interpolates linearly in 1/volts between table points. Past IR_MAX_CM (or
 * no signal) -> IR_CLEAR; closer than the first point -> IR_MIN_CM.
 * idx: IR_LEFT (IR1) or IR_RIGHT (IR2). */
static float irToCm(int idx, float volts)
{
    static const float cm[IR_TABLE_N]  = IR_TABLE_CM;
    static const float tv[2][IR_TABLE_N] = { IR1_TABLE_V, IR2_TABLE_V };
    const float *v = tv[idx];

    if (volts < IR_V_NOSIG)          return IR_CLEAR;   // unplugged / nothing at all
    if (volts >= v[0])               return IR_MIN_CM;  // closer than the first point
    if (volts <= v[IR_TABLE_N - 1])  return IR_CLEAR;   // farther than the last point

    int i = 0;
    while (volts < v[i + 1]) i++;                       // v[i] > volts >= v[i+1]
    float t = (1.0f / volts - 1.0f / v[i]) / (1.0f / v[i + 1] - 1.0f / v[i]);
    float d = cm[i] + t * (cm[i + 1] - cm[i]);
    return (d > IR_MAX_CM) ? IR_CLEAR : d;
}

static float median3f(float a, float b, float c)
{
    float lo = fminf(a, b), hi = fmaxf(a, b);
    return fmaxf(lo, fminf(hi, c));
}

/* Median of the next `updates` IR updates (max 15) for each side, for when the
 * robot is standing still (IR?). IR_CLEAR wins if most updates were clear.
 * Calls osDelay: tasks only. */
void IR_Query(int updates, float out[2])
{
    float v[2][15];
    int k = 0;
    if (updates > 15) updates = 15;
    if (updates < 1)  updates = 1;
    uint32_t last  = irSeq;
    uint32_t start = HAL_GetTick();
    while (k < updates && (HAL_GetTick() - start) < (uint32_t)(updates + 3) * IR_PERIOD_MS) {
        osDelay(5);
        if (irSeq == last) continue;
        last = irSeq;
        for (int s = 0; s < 2; s++) {        // insertion sort per side
            float d = irCm[s];
            int i = k;
            while (i > 0 && v[s][i - 1] > d) { v[s][i] = v[s][i - 1]; i--; }
            v[s][i] = d;
        }
        k++;
    }
    for (int s = 0; s < 2; s++) {
        out[s] = (k > 0) ? v[s][k / 2] : IR_CLEAR;
    }
}

/* USER CODE END 4 */

void StartDefaultTask(void *argument)
{
  /* USER CODE BEGIN 5 */
#if FIELD_TOOLS
  FieldTools_Run();                               // knob-and-button test modes; never returns
#else
  for(;;)
  {
      HAL_GPIO_TogglePin(LED3_GPIO_Port, LED3_Pin);   // heartbeat LED
      osDelay(100);
  }
#endif
  /* USER CODE END 5 */
}

void StartCommunicateTask(void *argument)
{
  /* USER CODE BEGIN StartCommunicateTask */

  /* Commands from the RPi, one per line. Every reply starts with "A".
   *   SF<cm> / S<cm> / F<cm>   straight forward     -> "A d=<cm> e=<heading error>"
   *   SB<cm> / B<cm>           straight backward
   *   LF / LB / RF / RB <deg>  turn at full lock     -> "A a=<deg turned> e=<heading error>"
   *   SU<D>[,<ign>,<until>]    forward until the ultrasonic reads D cm  -> "A d= e= u= by="
   *                            (echoes under <ign> cm ignored for the first <until> cm)
   *   SW<D>[,<max>[,<min>]]    same at <= FACE_V_MAX, never past <max> / before <min> cm of travel
   *   US?                      stationary ultrasonic, median of 5 pings -> "A US u=<cm> n=<good>"
   *   IR?                      stationary IR, median of 5 updates       -> "A IR l=<cm> r=<cm> vl=<V> vr=<V>"
   *                            (999 = clear; vl / vr = the latest averaged volts)
   *   PO?                      tracked pose (rear-axle centre)          -> "A PO x=<cm> y=<cm> h=<deg>"
   *   GO / AL / AR             Task 2 sequencer (task2.h)               -> "A S1 ..", "A S2 ..", "A FIN .."
   *   GL / GR                  Task 2: GO with arrow 1 known, no stop at scan 1 -> "A S2 .. u1=.."
   *   VT                       Task 2: the last run's moves and times, one line "A TR .."
   *   SEL / SER                one "along obstacle 2's face" leg, next turn left / right
   *   ST?                      free stack per task (bytes, lowest seen) -> "A ST c= m= s= o= g= d="
   *   VMAX? / VMAX<cm>         Banzai calibration: top stable straight speed (stops within 250 cm, or <cm>)
   *                            -> "A VM v=<cm/s> by=<P|L|Y|D> vl= vr= pl= pr= e= s= d="
   *   VB<v>                    Banzai calibration: 100 cm at v cm/s, hard brake at 100 (tape the skid)
   *   ZH                       this direction is "north" (send once before the first move)
   *   D                        task done (shown on the OLED)
   *   TD / TV<us>              field tools (FIELD_TOOLS = 1 only)
   * Anything else              -> "A ERR <command>"
   * Moves stopped by '!' or the button end in " ABORT", timeouts in " TO". */
  char cmdBuffer[15];                             // command being received, e.g. "SF050"
  uint8_t receivedChar;
  uint8_t cmdIndex = 0;

  for(;;)
  {
    // Block until a character arrives from the UART interrupt
    if (osMessageQueueGet(uartQueueHandle, &receivedChar, NULL, osWaitForever) != osOK) {
        continue;
    }

    // Collect characters until the end of the line
    if (receivedChar != '\n' && receivedChar != '\r') {
        if (cmdIndex < 14) {
            cmdBuffer[cmdIndex] = receivedChar;
            cmdIndex++;
        }
        continue;
    }
    if (cmdIndex == 0) {
        continue;                                   // empty line (e.g. the \n after a \r)
    }
    cmdBuffer[cmdIndex] = '\0';
    cmdIndex = 0;

    // 1. PARSE: one or two letters then a number ("SF050", "LB090", "ZH", "S50")
    char c1 = ' ';
    char c2 = ' ';
    int value = 0;
    int parsed;
    if ((cmdBuffer[1] >= 'A' && cmdBuffer[1] <= 'Z') ||
        (cmdBuffer[1] >= 'a' && cmdBuffer[1] <= 'z')) {
        parsed = sscanf(cmdBuffer, "%c%c%d", &c1, &c2, &value);
    } else {
        parsed = sscanf(cmdBuffer, "%c%d", &c1, &value);
    }

    // 2. EXECUTE and prepare the reply text (without the leading "A")
    char replyText[64] = "";
    int sentOwn = 0;                                 // the command already sent its own reply line (VT)
    int isMove  = 0;                                 // reply with the move's result
    int unknown = 0;                                 // reply "A ERR <command>"

    if (parsed <= 0) {
        unknown = 1;
    } else {
        switch (c1) {
            case 'S':                                   // straight: SF / SB / S
                if (c2 == 'B') {
                    Motion_Straight(-(float)value);
                    isMove = 1;
                } else if ((c2 == 'U' || c2 == 'W') && value > 0) {
                    // SU / SW, optional extra numbers after commas
                    int a = 0, b = -1, c = -1;
                    sscanf(cmdBuffer + 2, "%d,%d,%d", &a, &b, &c);
                    if (c2 == 'U') {                    // SU<D>[,<ignore below>,<until travelled>]
                        Motion_StraightUntil((float)value, 0.0f, SU_MAX_CM, STRAIGHT_V_MAX,
                                             (b > 0) ? (float)b : 0.0f, (c > 0) ? (float)c : 0.0f);
                    } else {                            // SW<D>[,<max travel>[,<min travel>]]
                        Motion_StraightUntil((float)value,
                                             (c >= 0) ? (float)c : SW_MIN_CM_DEFAULT,
                                             (b > 0)  ? (float)b : SW_MAX_CM_DEFAULT,
                                             FACE_V_MAX, 0.0f, 0.0f);
                    }
                    isMove = 1;
                } else if (c2 == 'T' && cmdBuffer[2] == '?') {
                    // ST?: least free stack each task has had (bytes). Under ~200 = too tight.
                    snprintf(replyText, sizeof(replyText), "ST c=%lu m=%lu s=%lu o=%lu g=%lu d=%lu",
                             (unsigned long)osThreadGetStackSpace(communicateTaskHandle),
                             (unsigned long)osThreadGetStackSpace(motorTaskHandle),
                             (unsigned long)osThreadGetStackSpace(ultrasonicTaskHandle),
                             (unsigned long)osThreadGetStackSpace(oledTaskHandle),
                             (unsigned long)osThreadGetStackSpace(gyroTaskHandle),
                             (unsigned long)osThreadGetStackSpace(defaultTaskHandle));
                } else if (c2 == 'E' && (cmdBuffer[2] == 'L' || cmdBuffer[2] == 'R')) {
                    Task2_AlongFace(cmdBuffer[2] == 'L');   // SEL / SER
                    isMove = 1;
                } else if (c2 == 'U' || c2 == 'W' || c2 == 'E') {
                    unknown = 1;                        // SU / SW without a distance, bad SE
                } else if (c2 == 'L' || c2 == 'R') {
                    unknown = 1;                        // SL / SR (slide moves): not supported
                } else {
                    Motion_Straight((float)value);
                    isMove = 1;
                }
                break;

            case 'F':                                   // forward (alias)
                Motion_Straight((float)value);
                isMove = 1;
                break;

            case 'B':                                   // backward (alias)
                Motion_Straight(-(float)value);
                isMove = 1;
                break;

            case 'L':                                   // left turn: LF / LB / L
                Motion_Turn(1, (c2 == 'B') ? -1 : 1, (float)value);
                isMove = 1;
                break;

            case 'R':                                   // right turn: RF / RB / R
                Motion_Turn(0, (c2 == 'B') ? -1 : 1, (float)value);
                isMove = 1;
                break;

            case 'Z':                                   // ZH: zero heading
                if (c2 == 'H') {
                    Motion_ZeroHeading();
                    Task2_Reset();                      // sequencer back to "waiting for GO"
                    strcpy(replyText, "ZH");
                } else {
                    unknown = 1;
                }
                break;

            case 'U':                                   // US?: stationary ultrasonic
                if (c2 == 'S' && cmdBuffer[2] == '?') {
                    int n = 0;
                    float u = Ultra_Query(US_QUERY_PINGS, &n);
                    snprintf(replyText, sizeof(replyText), "US u=%.1f n=%d", u, n);
                } else {
                    unknown = 1;
                }
                break;

            case 'I':                                   // IR?: stationary side IRs
                if (c2 == 'R' && cmdBuffer[2] == '?') {
                    float ir[2];
                    IR_Query(5, ir);
                    snprintf(replyText, sizeof(replyText), "IR l=%.1f r=%.1f vl=%.2f vr=%.2f",
                             ir[IR_LEFT], ir[IR_RIGHT], irVolts[IR_LEFT], irVolts[IR_RIGHT]);
                } else {
                    unknown = 1;
                }
                break;

            case 'P':                                   // PO?: tracked pose
                if (c2 == 'O' && cmdBuffer[2] == '?') {
                    float px, py, ph;
                    Motion_GetPose(&px, &py, &ph);
                    snprintf(replyText, sizeof(replyText), "PO x=%.1f y=%.1f h=%+.1f", px, py, ph);
                } else {
                    unknown = 1;
                }
                break;

            case 'G':                                   // GO: Task 2, drive to scan 1
                if (c2 == 'O') {
                    Task2_Go(replyText, sizeof(replyText));
                } else if (c2 == 'L' || c2 == 'R') {    // GL / GR: GO with arrow 1 known (no scan 1 stop)
                    Task2_GoArrow(c2 == 'L', replyText, sizeof(replyText));
                } else {
                    unknown = 1;
                }
                break;

            case 'A':                                   // AL / AR: arrow seen (1st, then 2nd)
                if (c2 == 'L' || c2 == 'R') {
                    Task2_Arrow(c2 == 'L', replyText, sizeof(replyText));
                } else {
                    unknown = 1;
                }
                break;

            case 'V':                                   // VMAX / VB: Banzai calibration tests, VT: run log
                if (c2 == 'M' && strncmp(cmdBuffer, "VMAX", 4) == 0) {
                    int cm = 0;
                    sscanf(cmdBuffer + 4, "%d", &cm);       // "VMAX?" -> 0 -> default length
                    Motion_VmaxTest((float)cm, replyText, sizeof(replyText));
                } else if (c2 == 'B' && value > 0) {
                    Motion_BrakeTest((float)value);         // VB<v>
                    isMove = 1;
                } else if (c2 == 'T') {                     // VT: the last Task 2 run's move log (one long line)
                    static char trBuf[640];
                    trBuf[0] = 'A'; trBuf[1] = ' ';
                    Task2_Trace(trBuf + 2, sizeof(trBuf) - 3);
                    strcat(trBuf, "\n");
                    HAL_UART_Transmit(&huart3, (uint8_t *)trBuf, strlen(trBuf), 300);
                    sentOwn = 1;
                } else {
                    unknown = 1;
                }
                break;

            case 'D':                                   // task done
                strcpy(oled_status_msg, "TASK A.5 DONE!");
                break;

#if FIELD_TOOLS
            case 'T':                                   // TD / TV
                if (!FieldTools_Command(c2, value, replyText, sizeof(replyText))) {
                    unknown = 1;
                }
                break;
#endif

            default:
                unknown = 1;
                break;
        }
    }

    // 3. REPLY TO THE RPI
    char ackMsg[96];
    if (sentOwn) {
        ackMsg[0] = '\0';
    } else if (unknown) {
        snprintf(ackMsg, sizeof(ackMsg), "A ERR %s\n", cmdBuffer);
    } else if (isMove) {
        snprintf(ackMsg, sizeof(ackMsg), "A %s\n", Motion_Reply());
    } else if (replyText[0] != '\0') {
        snprintf(ackMsg, sizeof(ackMsg), "A %s\n", replyText);
    } else {
        snprintf(ackMsg, sizeof(ackMsg), "A\n");
    }
    if (ackMsg[0] != '\0') {
        HAL_UART_Transmit(&huart3, (uint8_t *)ackMsg, strlen(ackMsg), 100);
    }

    // 4. DASHBOARD
    strcpy(dash_lastCmd, cmdBuffer);
  }
  /* USER CODE END StartCommunicateTask */
}

void StartMotorTask(void *argument)
{
  /* USER CODE BEGIN StartMotorTask */

  int16_t cnt_L = 0;
  int16_t cnt_R = 0;
  left_encoder_val = 0;
  right_encoder_val = 0;

  // Start the encoder, motor and servo timers
  HAL_TIM_Encoder_Start(&htim2, TIM_CHANNEL_ALL); // Motor A (Left) Encoder
  HAL_TIM_Encoder_Start(&htim3, TIM_CHANNEL_ALL); // Motor B (Right) Encoder

  HAL_TIM_PWM_Start(&htim4, TIM_CHANNEL_3);       // Motor A (Left) Fwd/Rev
  HAL_TIM_PWM_Start(&htim4, TIM_CHANNEL_4);
  HAL_TIM_PWM_Start(&htim9, TIM_CHANNEL_1);       // Motor B (Right) Fwd/Rev
  HAL_TIM_PWM_Start(&htim9, TIM_CHANNEL_2);
  HAL_TIM_PWM_Start(&htim12, TIM_CHANNEL_2);      // Steering Servo

  // Stationary with the wheels straight on boot
  __HAL_TIM_SET_COMPARE(&htim12, TIM_CHANNEL_2, SERVO_TRUE_CENTRE);
  __HAL_TIM_SET_COMPARE(&htim4, TIM_CHANNEL_3, 0);
  __HAL_TIM_SET_COMPARE(&htim4, TIM_CHANNEL_4, 0);
  __HAL_TIM_SET_COMPARE(&htim9, TIM_CHANNEL_1, 0);
  __HAL_TIM_SET_COMPARE(&htim9, TIM_CHANNEL_2, 0);
  osDelay(1000);

  // Clear startup garbage from encoders
  __HAL_TIM_SET_COUNTER(&htim2, 0);
  __HAL_TIM_SET_COUNTER(&htim3, 0);

  /* Infinite loop: 100 Hz */
  for(;;)
  {
    // 1. Encoder ticks since the last loop
    cnt_L = (int16_t)__HAL_TIM_GET_COUNTER(&htim2);
    cnt_R = (int16_t)__HAL_TIM_GET_COUNTER(&htim3);
    __HAL_TIM_SET_COUNTER(&htim2, 0);
    __HAL_TIM_SET_COUNTER(&htim3, 0);

    left_encoder_val += cnt_L;
    right_encoder_val += cnt_R;

    dash_encoderL = left_encoder_val;
    dash_encoderR = right_encoder_val;
    dash_direction = __HAL_TIM_IS_TIM_COUNTING_DOWN(&htim2);

    // 2. Drive the active move, or keep the motors off (motion.c)
    Motion_Step(cnt_L, cnt_R);

    osDelay(10);
  }
  /* USER CODE END StartMotorTask */
}

void StartOledTask(void *argument)
{
  /* USER CODE BEGIN StartOledTask */
  char textBuffer[32];  // Temp buffer to format numbers into text
  float u;

  /* Infinite loop */
  for(;;)
  {
    OLED_Clear();

    // If an overarching system status exists (like boot up or test mode), show it exclusively
    if (strlen(oled_status_msg) > 0) {
        OLED_ShowString(0, 24, (uint8_t*)oled_status_msg);
    }
    // Otherwise, paint the main telemetry dashboard
    else {
        // Line 1: Last received RPi Command
        OLED_ShowString(0, 0, (uint8_t*) "CMD: ");
        OLED_ShowString(35, 0, (uint8_t*) dash_lastCmd);

        // Line 2: Gyroscope Angle & Ultrasonic Distance ("--" = stale / no echo)
        Ultra_Get(&u);
        // Integer formatting only: float printf (%f) here could run at the same
        // time as the command task's replies, and newlib's float formatting is not
        // safe in two tasks at once (shared buffers, malloc).
        char gTxt[12], dTxt[12];
        fixed1(gTxt, (float)(headingDeg - headingZero), 1);
        if (u > 0.0f) { fixed1(dTxt, u, 1); sprintf(textBuffer, "G: %s D: %scm", gTxt, dTxt); }   // heading relative to "north"
        else          sprintf(textBuffer, "G: %s D: --", gTxt);
        OLED_ShowString(0, 12, (uint8_t*) textBuffer);

#if OLED_SHOW_IR
        // Lines 3-4: IR sensors, cm from the lens ("--" = clear / over IR_MAX_CM)
        for (int s = 0; s < 2; s++) {
            float d = irCm[s];
            char vTxt[12], cTxt[12];
            fixed1(vTxt, irVolts[s], 2);
            if (d < IR_CLEAR) { fixed1(cTxt, d, 1); sprintf(textBuffer, "IR%d %sV %scm", s + 1, vTxt, cTxt); }
            else              sprintf(textBuffer, "IR%d %sV  --   ", s + 1, vTxt);
            OLED_ShowString(0, 24 + 12 * s, (uint8_t *) textBuffer);
        }
#else
        // Line 3: Accumulated Left Encoder
        sprintf(textBuffer, "Enc L: %d", dash_encoderL);
        OLED_ShowString(0, 24, (uint8_t *) textBuffer);

        // Line 4: Accumulated Right Encoder
        sprintf(textBuffer, "Enc R: %d", dash_encoderR);
        OLED_ShowString(0, 36, (uint8_t *) textBuffer);
#endif

        // Line 5: Raw Direction Indicator & Battery Percentage (battery read by the sensor task)
        dash_battPct = batteryPercent(dash_battV);
        sprintf(textBuffer, "Dir:%d B:%d%%", dash_direction, dash_battPct);
        OLED_ShowString(0, 48, (uint8_t *) textBuffer);
    }

    OLED_Refresh_Gram();
    osDelay(100); // UI Refresh rate 10Hz
  }
  /* USER CODE END StartOledTask */
}

void StartGyroTask(void *argument)
{
  /* USER CODE BEGIN StartGyroTask */
  ICM20948_Data IMU_Data;
  double total_angle = 0.0;     // integrated heading (deg); other tasks read headingDeg
  double offset = 0.0;
  uint32_t tick = 0;
  int i = 0;

  // Give sensor hardware time to stabilise on power up
  strcpy(oled_status_msg, "Warmup IMU...");
  osDelay(2000);

  // ---------------------------------------------------------
  // START-UP CALIBRATION (the robot must be kept still!)
  // ---------------------------------------------------------
  strcpy(oled_status_msg, "Calibrating Gyro...");
  osDelay(500);

  // Read 100 samples to establish natural zero-drift offset
  while (i < 100) {
      osDelay(30); // Get sample every 30ms
      ICM_ReadData(&IMU_Data);
      offset += (double)IMU_Data.z_gyro;
      i++;
  }
  offset = offset / 100.0;

  strcpy(oled_status_msg, "Calib Done!");
  osDelay(500);
  strcpy(oled_status_msg, ""); // Clear status to show dashboard

  tick = HAL_GetTick();

  /* Infinite loop */
  for(;;)
  {
    // High-frequency 100Hz loop essential for accurate Euler integration
    osDelay(10);

    // 1. Fetch IMU data
    ICM_ReadData(&IMU_Data);

    // 2. Calculate true delta-time (dt) in seconds
    uint32_t current_tick = HAL_GetTick();
    double dt = (double)(current_tick - tick) / 1000.0;
    tick = current_tick;

    // 3. Subtract baseline drift offset from angular velocity
    double gz_raw = (double)IMU_Data.z_gyro;
    double gz_corrected;
    double dev = gz_raw - offset;

    if (robotStill && dev > -GYRO_STILL_BAND && dev < GYRO_STILL_BAND) {
        // Wheels still and the gyro reads close to zero: the robot really is
        // at rest. Track the zero-rate offset, which drifts as the sensor warms up.
        offset += 0.002 * dev;
        gz_corrected = 0.0;
    } else if (robotStill) {
        // Wheels still but the gyro reads a real rotation: the robot is being
        // turned by hand. Count it as rotation and leave the offset alone.
        gz_corrected = dev;
    } else {
        // No deadband: even slow drifts must be seen by the heading hold.
        gz_corrected = gz_raw - offset;
    }

    // 4. Integrate the filtered velocity to get absolute heading
    total_angle += gz_corrected * dt;
    dash_gyroRate = (float)gz_corrected;   // yaw rate, used by turns

    // 5. Publish for the other tasks (float: a single 32-bit write, never torn)
    headingDeg = (float)total_angle;
  }
  /* USER CODE END StartGyroTask */
}

void StartUltrasonicTask(void *argument)
{
  /* USER CODE BEGIN StartUltrasonicTask */
  /* SENSOR TASK. Owns the ultrasonic trigger AND the ADC (IR, battery, knob):
   * one owner, so no mutex. The IR has no task of its own because the task
   * stacks already take most of the FreeRTOS heap (15360 of 20480 B).
   * One loop every IR_PERIOD_MS (20 ms):
   *   every loop      IR1 + IR2, 8 samples each (~2 ms)
   *   every 3rd loop  ultrasonic ping (60 ms apart, so old echoes have died)
   *   every 5th loop  battery (and the knob with FIELD_TOOLS), 10 Hz */
  float    hist[2][3] = {{IR_CLEAR, IR_CLEAR, IR_CLEAR}, {IR_CLEAR, IR_CLEAR, IR_CLEAR}};
  uint8_t  h = 0;                                     // slot in hist for this update
  uint8_t  loop = 0;                                  // 0..14
  uint32_t wake = osKernelGetTickCount();

  dash_battV = readBatteryVoltage();

  for(;;)
  {
    if (loop % 3 == 0) {
        // 1. Ensure trigger line is completely low before pulsing
        HAL_GPIO_WritePin(ULTRASONIC_TRIG_GPIO_Port, ULTRASONIC_TRIG_Pin, GPIO_PIN_RESET);
        delay_us(2);

        // 2. Prime the input capture interrupt to wait for the rising edge
        first_captured = 0;
        __HAL_TIM_SET_CAPTUREPOLARITY(&htim5, TIM_CHANNEL_3, TIM_INPUTCHANNELPOLARITY_RISING);
        __HAL_TIM_ENABLE_IT(&htim5, TIM_IT_CC3);

        // 3. Send 10us HIGH acoustic pulse (the echo is caught by the TIM5 interrupt)
        HAL_GPIO_WritePin(ULTRASONIC_TRIG_GPIO_Port, ULTRASONIC_TRIG_Pin, GPIO_PIN_SET);
        delay_us(10); // Hardware blocking delay here is brief and safe
        HAL_GPIO_WritePin(ULTRASONIC_TRIG_GPIO_Port, ULTRASONIC_TRIG_Pin, GPIO_PIN_RESET);
    }

    // 4. IR: average 8 ADC samples per side, convert, median of the last 3
    //    updates (one bad update can't fake an obstacle edge), then publish.
    for (int s = 0; s < 2; s++) {
        float v = irReadVolts((s == IR_LEFT) ? IR1_ADC_CHANNEL : IR2_ADC_CHANNEL);
        if (v < 0.0f) continue;                       // ADC failed: keep the last value
        irVolts[s] = v;
        hist[s][h] = irToCm(s, v);
        irCm[s]    = median3f(hist[s][0], hist[s][1], hist[s][2]);
    }
    h = (uint8_t)((h + 1) % 3);
    irSeq++;

    // 5. Battery (and knob), 10 Hz
    if (loop % 5 == 0) {
        dash_battV = dash_battV * 0.9f + readBatteryVoltage() * 0.1f;   // smooth out load sag
#if FIELD_TOOLS
        FieldTools_UpdateKnob();
#endif
    }

    loop = (uint8_t)((loop + 1) % 15);
    wake += IR_PERIOD_MS;
    osDelayUntil(wake);                               // fixed 20 ms rate, however long the reads took
  }
  /* USER CODE END StartUltrasonicTask */
}

void HAL_TIM_PeriodElapsedCallback(TIM_HandleTypeDef *htim)
{
  if (htim->Instance == TIM7) {
    HAL_IncTick();
  }
}

void Error_Handler(void)
{
  __disable_irq();
  while (1)
  {
  }
}
